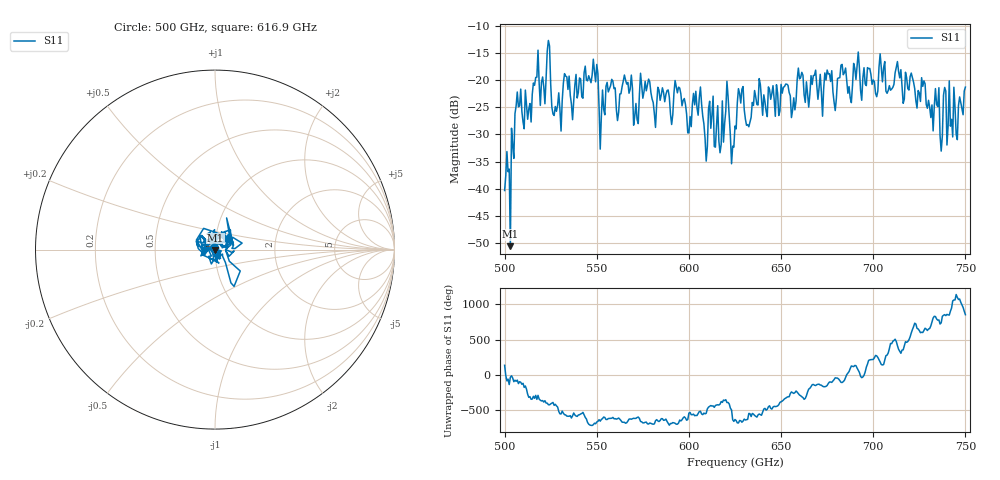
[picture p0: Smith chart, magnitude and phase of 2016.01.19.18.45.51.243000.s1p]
!Created with skrf (http://scikit-rf.org).
# GHz S RI R 50.0
!freq ReS11 ImS11
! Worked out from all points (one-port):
!   401 points, 500 GHz to 750 GHz, reference 50 ohm
!   lowest |S11| = -50.5 dB at 503.1 GHz (marker M1), VSWR 1.01, Z = 50.3 - j0.159 ohm
!   |S11| at or under -10 dB: start of sweep to end of sweep
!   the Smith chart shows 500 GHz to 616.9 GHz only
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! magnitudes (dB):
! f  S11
! 500 GHz  -40.3
! 503.1 GHz  -50.5
! 507.5 GHz  -24.9
! 513.1 GHz  -25.3
! 516.9 GHz  -19.5
! 520.6 GHz  -19.4
! 523.8 GHz  -12.7
! 526.9 GHz  -26.5
! 531.2 GHz  -23.8
! 549.4 GHz  -20.3
! 552.5 GHz  -26.6
! 562.5 GHz  -22.6
! 593.8 GHz  -22.4
! 600 GHz  -29.7
! 606.9 GHz  -24.4
! 608.8 GHz  -30.7
! 620.6 GHz  -20.2
! 625 GHz  -28.5
! 628.1 GHz  -24.2
! 631.9 GHz  -28.2
! 637.5 GHz  -24.6
! 656.2 GHz  -25.5
! 660.6 GHz  -19.5
! 687.5 GHz  -23.3
! 690.6 GHz  -19.9
! 718.8 GHz  -21.6
! 736.2 GHz  -30.2
! 750 GHz  -21.3
